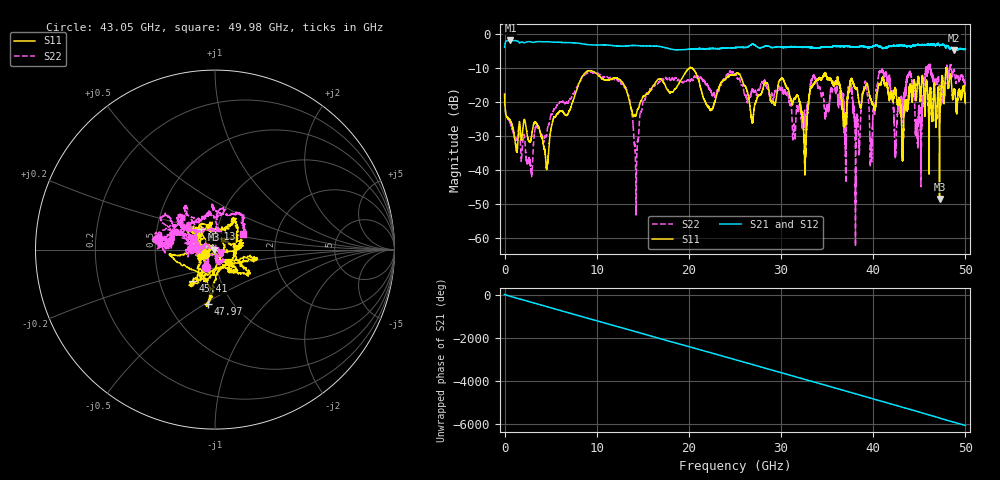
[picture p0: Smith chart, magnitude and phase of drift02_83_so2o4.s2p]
!Created with skrf (http://scikit-rf.org).
# Hz S RI R 50.0
!freq ReS11 ImS11 ReS21 ImS21 ReS12 ImS12 ReS22 ImS22
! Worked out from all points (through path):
!   10001 points, 300 kHz to 50 GHz, reference 50 ohm
!   highest |S21| = -1.99 dB at 630.3 MHz (marker M1); lowest = -4.8 dB at 48.76 GHz (marker M2)
!   group delay of S21, straight-line fit = 337 ps
!   lowest |S11| = -48.5 dB at 47.2 GHz (marker M3), VSWR 1.01, Z = 49.6 - j0.0709 ohm
!   |S11| at or under -10 dB: start of sweep to 20.07 GHz; 20.24 GHz to 47.93 GHz (27.69 GHz wide, 81.2 % of centre); 47.96 GHz to end of sweep (the widest 3 of 6)
!   |S22| runs from -62.4 to -9.0 dB; largest |S21 - S12| = 0.035
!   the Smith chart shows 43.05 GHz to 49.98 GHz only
!   S11 on the Smith chart (normalised r, x): 43.05 GHz: 0.89, -0.05; 44.13 GHz: 0.83, +0.19; 45.41 GHz: 0.74, -0.27; 47.97 GHz: 0.77, -0.52; 49.98 GHz: 1.15, -0.16
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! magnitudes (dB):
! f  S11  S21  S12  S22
! 300 kHz  -17.8  -4.0  -4.0  -17.4
! 630.3 MHz  -25.5  -2.0  -2.0  -26.3
! 4.565 GHz  -39.9  -2.4  -2.4  -29.5
! 8.335 GHz  -13.0  -2.9  -2.9  -13.2
! 13 GHz  -15.3  -3.6  -3.6  -15.7
! 14.28 GHz  -23.8  -3.5  -3.5  -49.3
! 16.67 GHz  -13.3  -3.7  -3.7  -14.5
! 25 GHz  -12.1  -4.1  -4.1  -12.1
! 30.19 GHz  -13.3  -4.1  -4.1  -16.8
! 32.58 GHz  -38.6  -4.0  -3.9  -25.4
! 33.34 GHz  -15.7  -4.0  -4.0  -13.7
! 37.5 GHz  -14.4  -3.8  -3.8  -15.8
! 38.29 GHz  -16.8  -3.9  -3.8  -24.1
! 41.67 GHz  -18.3  -3.8  -3.9  -12.8
! 43.05 GHz  -23.9  -3.4  -3.4  -19.3
! 44.13 GHz  -17.2  -3.9  -3.9  -12.8
! 45.41 GHz  -13.4  -3.4  -3.4  -19.0
! 47.2 GHz  -48.5  -3.4  -3.4  -16.1
! 47.97 GHz  -10.3  -3.8  -3.8  -9.7
! 48.76 GHz  -16.6  -4.8  -4.8  -10.6
! 49.98 GHz  -20.0  -4.6  -4.5  -14.9
! 50 GHz  -20.5  -4.6  -4.6  -15.2
